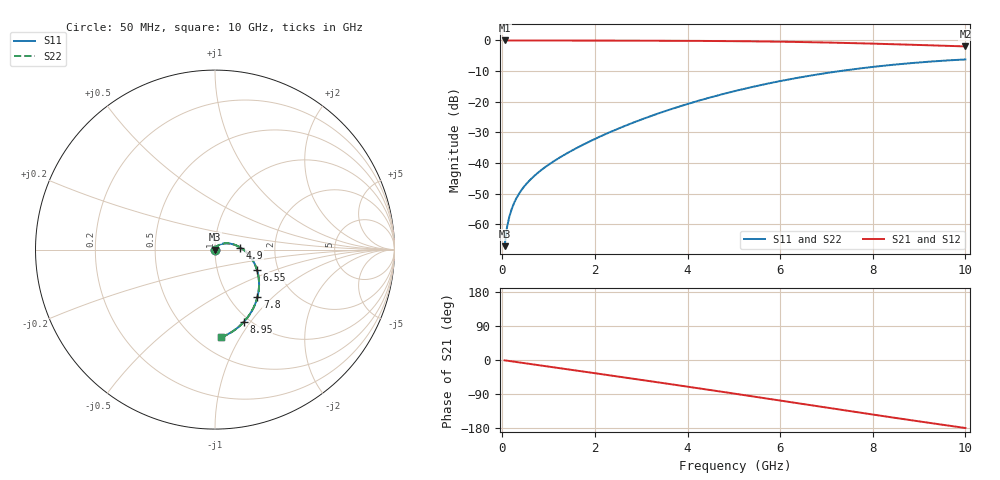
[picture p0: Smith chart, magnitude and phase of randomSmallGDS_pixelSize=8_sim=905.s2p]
! freq	dB(S11)	phase(S11)	dB(S12)	phase(S12)
!  dB(S21)	phase(S21)	dB(S22)	phase(S22)
!S-par simulation data
#  GHz  S  DB  R 50
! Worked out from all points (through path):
!   200 points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, 50 MHz to 10 GHz, reference 50 ohm
!   highest |S21| = 0.00 dB at 50 MHz (marker M1); lowest = -1.9 dB at 10 GHz (marker M2)
!   group delay of S21, straight-line fit = 50.3 ps
!   lowest |S11| = -67.1 dB at 50 MHz (marker M3), VSWR 1.00, Z = 50 + j0.0438 ohm
!   |S11| at or under -10 dB: start of sweep to 7.287 GHz
!   |S22| runs from -67.1 to -6.2 dB; largest |S21 - S12| = 0
!   S11 on the Smith chart (normalised r, x): 50 MHz: 1.00, +0.00; 4.9 GHz: 1.33, +0.03; 6.55 GHz: 1.55, -0.37; 7.8 GHz: 1.34, -0.81; 8.95 GHz: 0.93, -0.93; 10 GHz: 0.65, -0.83
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0.05  -67.13 84.0  -0.00 -0.9  -0.00 -0.9  -67.13 84.0
0.1  -61.14 85.3  -0.00 -1.8  -0.00 -1.8  -61.14 85.3
0.15  -57.63 85.1  -0.00 -2.6  -0.00 -2.6  -57.63 85.1
0.2  -55.14 84.5  -0.00 -3.5  -0.00 -3.5  -55.14 84.5
0.3  -51.63 83.0  -0.00 -5.3  -0.00 -5.3  -51.63 83.0
0.45  -48.09 80.7  -0.01 -7.9  -0.01 -7.9  -48.09 80.7
0.65  -44.77 77.7  -0.01 -11.4  -0.01 -11.4  -44.77 77.7
0.95  -41.08 73.4  -0.02 -16.6  -0.02 -16.6  -41.08 73.4
1.3  -37.66 68.0  -0.03 -22.7  -0.03 -22.7  -37.67 68.0
1.75  -33.97 60.7  -0.04 -30.5  -0.04 -30.5  -33.97 60.7
2.55  -28.49 46.9  -0.06 -44.5  -0.06 -44.5  -28.49 47.0
3.4  -23.66 31.8  -0.09 -59.6  -0.09 -59.6  -23.66 31.8
4.15  -20.06 18.3  -0.14 -73.0  -0.14 -73.0  -20.06 18.3
4.9  -16.97 4.6  -0.21 -86.7  -0.21 -86.7  -16.97 4.7
5.05  -16.41 1.9  -0.23 -89.4  -0.23 -89.4  -16.41 1.9
5.8  -13.87 -11.9  -0.36 -103.3  -0.36 -103.3  -13.87 -11.8
6.55  -11.73 -25.6  -0.54 -117.2  -0.54 -117.2  -11.73 -25.6
6.7  -11.35 -28.4  -0.58 -120.0  -0.58 -120.0  -11.35 -28.4
7.8  -8.99 -48.3  -0.95 -140.3  -0.95 -140.3  -8.99 -48.3
8.35  -8.07 -58.1  -1.18 -150.3  -1.18 -150.3  -8.07 -58.1
8.95  -7.24 -68.5  -1.45 -161.1  -1.45 -161.1  -7.24 -68.5
10  -6.19 -86.1  -1.95 -179.5  -1.95 -179.5  -6.19 -86.1
